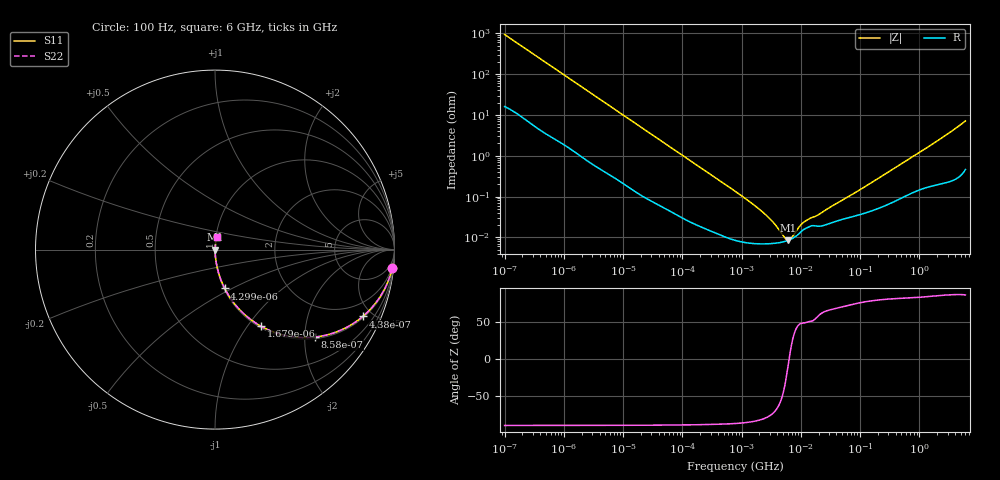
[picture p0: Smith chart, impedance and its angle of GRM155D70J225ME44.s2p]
!Murata Part Number: GRM155D70J225ME44
!These Parameters are Measured in Series Mode Connection
!Data Generated on Mar 30, 2021
!  o--ll--o
!Port1  Port2
!  o------o
!Operation Temp=25[degC], DC Bias Voltage=0[V]
!Freq. Start=100[Hz] Stop=6[GHz] 401[Steps]
# Hz S RI R 50
!Freq.(Hz) S11(Real) S11(Imag) S21(Real) S21(Imag) S12(Real) S12(Imag) S22(Real) S22(Imag)
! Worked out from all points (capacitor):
!   401 points, 100 Hz to 6 GHz, reference 50 ohm
!   read as one part in series: C = 1.68 uF near 109 Hz
!   lowest |Z| = 8.5 mohm at 6.075 MHz (marker M1)
!   series resonance near 6.339 MHz, so ESL is about 380 pH
!   S11 on the Smith chart (normalised r, x): 100 Hz: 1, -19; 438 Hz: 1.08, -4.38; 858 Hz: 1.04, -2.26; 1.679 kHz: 1.02, -1.16; 4.299 kHz: 1.01, -0.46; 6 GHz: 1.01, +0.14
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100  0.9871 -0.1045  0.0129 0.1045  0.0129 0.1045  0.9871 -0.1045
245  0.9345 -0.2386  0.0655 0.2386  0.0655 0.2386  0.9345 -0.2386
438  0.8234 -0.3726  0.1766 0.3726  0.1766 0.3726  0.8234 -0.3726
858  0.5589 -0.4871  0.4411 0.4871  0.4411 0.4871  0.5589 -0.4871
1174  0.4085 -0.482  0.5915 0.482  0.5915 0.482  0.4085 -0.482
1679  0.2568 -0.4273  0.7432 0.4273  0.7432 0.4273  0.2568 -0.4273
2008  0.1964 -0.3878  0.8036 0.3878  0.8036 0.3878  0.1964 -0.3878
4299  0.0539 -0.2162  0.9461 0.2162  0.9461 0.2162  0.0539 -0.2162
11009  0.01 -0.0897  0.99 0.0897  0.99 0.0897  0.01 -0.0897
40335  0.00124 -0.0251  0.9988 0.0251  0.9988 0.0251  0.00124 -0.0251
774597  8.61e-05 -0.00135  0.9999 0.00135  0.9999 0.00135  8.61e-05 -0.00135
2268635  6.89e-05 -0.000411  0.9999 0.000411  0.9999 0.000411  6.89e-05 -0.000411
3394479  7.05e-05 -0.000225  0.9999 0.000225  0.9999 0.000225  7.05e-05 -0.000225
5079039  7.75e-05 -7.55e-05  0.9999 7.55e-05  0.9999 7.55e-05  7.75e-05 -7.55e-05
6075234  8.38e-05 -1.44e-05  0.9999 1.44e-05  0.9999 1.44e-05  8.38e-05 -1.44e-05
7266822  9.41e-05 4.62e-05  0.9999 -4.62e-05  0.9999 -4.62e-05  9.41e-05 4.62e-05
1.039699e7  0.000142 0.000159  0.9999 -0.000159  0.9999 -0.000159  0.000142 0.000159
1.555665e7  0.000193 0.000239  0.9998 -0.000239  0.9998 -0.000239  0.000193 0.000239
2.035112e7  0.000187 0.000314  0.9998 -0.000314  0.9998 -0.000314  0.000187 0.000314
3.124326e8  0.000677 0.00408  0.9993 -0.00408  0.9993 -0.00408  0.000677 0.00408
1.712697e9  0.00221 0.0196  0.9978 -0.0196  0.9978 -0.0196  0.00221 0.0196
6e9  0.00953 0.0701  0.9905 -0.0701  0.9905 -0.0701  0.00953 0.0701
